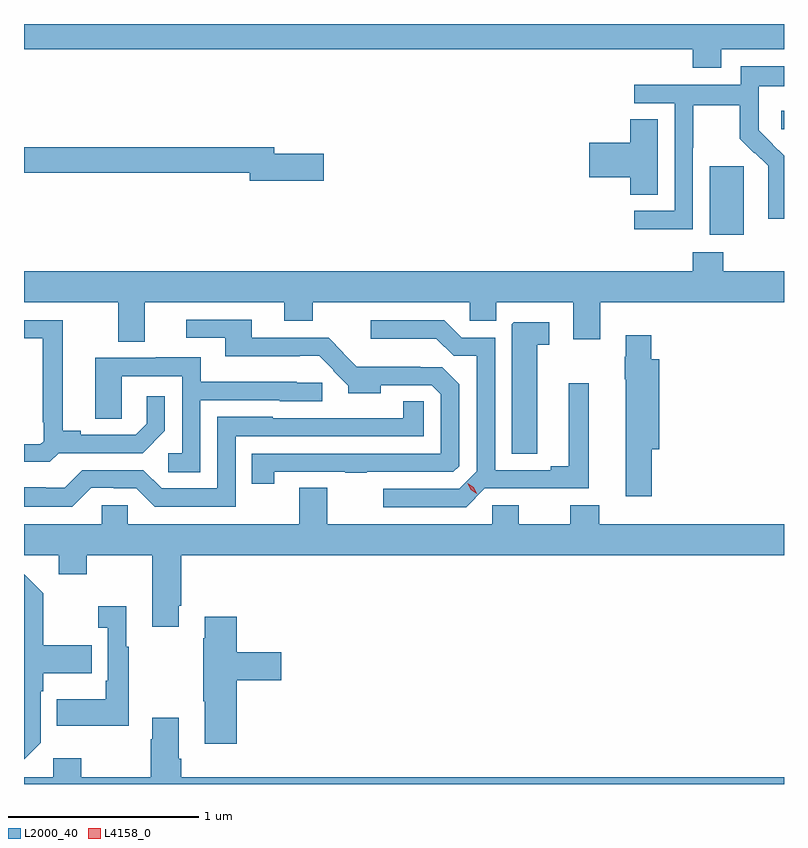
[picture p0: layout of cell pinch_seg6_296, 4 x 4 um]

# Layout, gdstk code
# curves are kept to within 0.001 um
import gdstk
lib = gdstk.Library(unit=1e-6, precision=1e-09)
def R(c, l, rs):  # rectangles x0, y0, x1, y1
    for r in rs: c.add(gdstk.rectangle(r[:2], r[2:], *l))
def P(c, l, *ps):  # polygons
    for p in ps: c.add(gdstk.Polygon(p, *l))
L2000_40 = (2000, 40)
L4158_0 = (4158, 0)

pinch_seg6_296 = lib.new_cell('pinch_seg6_296')
R(pinch_seg6_296, L2000_40, [(793.139,971.666,793.318,972.027), (793.515,972.222,793.53,972.319)])
P(pinch_seg6_296, L2000_40, [(793.201,972.644),(793.53,972.644),(793.53,972.776),(789.53,972.776),(789.53,972.644),(793.049,972.644),(793.049,972.545),(793.201,972.545)],
  [(793.05,972.124),(793.053,972.124),(793.053,972.348),(793.297,972.348),(793.297,972.173),(793.374,972.096),(793.377,972.099),(793.448,972.029),(793.448,971.906),(793.446,971.906),(793.446,971.752),(793.53,971.752),(793.53,972.082),(793.396,972.218),(793.396,972.315),(793.398,972.315),(793.398,972.449),(793.53,972.449),(793.53,972.553),(793.302,972.553),(793.302,972.456),(792.741,972.456),(792.741,972.36),(792.954,972.36),(792.954,971.793),(792.741,971.793),(792.741,971.695),(793.05,971.695)],
  [(792.865,972.275),(792.722,972.275),(792.722,972.152),(792.504,972.152),(792.504,971.969),(792.722,971.969),(792.722,971.878),(792.865,971.878)],
  [(791.107,972.092),(790.846,972.092),(790.846,972.128),(789.53,972.128),(789.53,971.992),(790.718,971.992),(790.718,971.95),(791.107,971.95)],
  [(790.165,971.312),(790.901,971.312),(790.901,971.213),(791.049,971.213),(791.049,971.312),(791.877,971.312),(791.877,971.214),(792.016,971.214),(792.016,971.312),(792.422,971.312),(792.422,971.118),(792.562,971.118),(792.562,971.312),(793.53,971.312),(793.53,971.476),(793.209,971.476),(793.209,971.575),(793.049,971.575),(793.049,971.476),(789.53,971.476),(789.53,971.312),(790.025,971.312),(790.025,971.104),(790.165,971.104)],
  [(790.848,970.419),(791.221,970.419),(791.221,970.414),(791.333,970.414),(791.333,970.419),(791.79,970.419),(791.82,970.449),(791.82,970.881),(791.731,970.97),(791.615,970.97),(791.615,970.972),(791.281,970.972),(791.207,971.045),(791.209,971.047),(791.133,971.124),(790.729,971.124),(790.729,971.22),(790.383,971.22),(790.383,971.124),(790.589,971.124),(790.589,971.027),(790.982,971.027),(790.982,971.03),(791.084,971.03),(791.16,970.953),(791.157,970.95),(791.236,970.872),(791.236,970.832),(791.407,970.832),(791.407,970.875),(791.676,970.875),(791.724,970.827),(791.724,970.515),(790.729,970.515),(790.729,970.356),(790.848,970.356)],
  [(789.714,970.518),(790.156,970.518),(790.272,970.634),(790.272,970.816),(790.175,970.816),(790.175,970.671),(790.118,970.614),(789.829,970.614),(789.829,970.634),(789.733,970.634),(789.733,971.217),(789.531,971.217),(789.531,971.121),(789.629,971.121),(789.629,970.681),(789.633,970.681),(789.633,970.581),(789.615,970.563),(789.53,970.563),(789.53,970.471),(789.666,970.471)],
  [(791.956,970.332),(792.502,970.332),(792.502,970.885),(792.398,970.885),(792.398,970.448),(792.302,970.448),(792.302,970.428),(792.009,970.428),(792.009,971.124),(791.835,971.124),(791.742,971.217),(791.355,971.217),(791.355,971.12),(791.701,971.12),(791.792,971.029),(791.913,971.029),(791.913,970.422),(791.82,970.329),(791.421,970.329),(791.421,970.233),(791.857,970.233)],
  [(792.232,971.089),(792.295,971.089),(792.295,971.205),(792.108,971.205),(792.098,971.195),(792.098,970.513),(792.232,970.513)],
  [(792.833,970.538),(792.874,970.538),(792.874,971.011),(792.83,971.011),(792.83,971.137),(792.698,971.137),(792.698,971.024),(792.691,971.024),(792.691,970.907),(792.698,970.907),(792.698,970.29),(792.833,970.29)],
  [(790.458,970.797),(790.875,970.797),(790.875,970.791),(791.1,970.791),(791.1,970.887),(790.965,970.887),(790.965,970.894),(790.459,970.894),(790.459,971.023),(790.223,971.023),(790.223,971.019),(789.905,971.019),(789.905,970.699),(790.044,970.699),(790.044,970.923),(790.362,970.923),(790.362,970.518),(790.29,970.518),(790.29,970.417),(790.458,970.417)],
  [(789.885,970.335),(790.002,970.335),(790.002,970.332),(790.122,970.332),(790.218,970.236),(790.644,970.236),(790.644,970.605),(791.634,970.605),(791.634,970.79),(791.526,970.79),(791.526,970.702),(790.839,970.701),(790.839,970.708),(790.548,970.708),(790.548,970.332),(790.254,970.332),(790.158,970.428),(789.837,970.428),(789.744,970.335),(789.644,970.335),(789.644,970.339),(789.53,970.339),(789.53,970.235),(789.785,970.235)],
  [(790.345,969.715),(790.358,969.715),(790.358,969.98),(793.53,969.98),(793.53,970.144),(792.557,970.144),(792.557,970.243),(792.404,970.243),(792.404,970.144),(792.133,970.144),(792.133,970.242),(791.994,970.242),(791.994,970.144),(791.125,970.144),(791.125,970.334),(790.978,970.334),(790.978,970.144),(790.077,970.144),(790.077,970.242),(789.939,970.242),(789.939,970.144),(789.53,970.144),(789.53,969.98),(789.713,969.98),(789.713,969.881),(789.861,969.881),(789.861,969.98),(790.205,969.98),(790.205,969.603),(790.345,969.603)],
  [(789.618,968.994),(789.618,969.263),(789.631,969.263),(789.631,969.359),(789.887,969.359),(789.887,969.507),(789.631,969.507),(789.631,969.779),(789.53,969.88),(789.53,968.907),(789.531,968.907)],
  [(790.081,969.499),(790.069,969.499),(790.069,969.712),(789.921,969.712),(789.921,969.599),(789.972,969.599),(789.972,969.319),(789.96,969.319),(789.96,969.223),(789.703,969.223),(789.703,969.083),(790.081,969.083)],
  [(790.649,969.323),(790.885,969.323),(790.885,969.47),(790.649,969.47),(790.649,969.655),(790.481,969.655),(790.481,969.542),(790.474,969.542),(790.474,969.211),(790.481,969.211),(790.481,968.988),(790.649,968.988)],
  [(793.53,968.812),(790.358,968.812),(790.358,968.908),(790.345,968.908),(790.345,969.124),(790.205,969.124),(790.205,969.011),(790.198,969.011),(790.198,968.812),(789.831,968.812),(789.831,968.911),(789.684,968.911),(789.684,968.812),(789.53,968.812),(789.53,968.776),(793.53,968.776)])
P(pinch_seg6_296, L4158_0, [(791.912,970.303),(791.881,970.324),(791.865,970.358),(791.865,970.358),(791.865,970.358),(791.896,970.337),(791.912,970.303),(791.912,970.303)])

lib.write_gds('pinch_seg6_296.gds')
